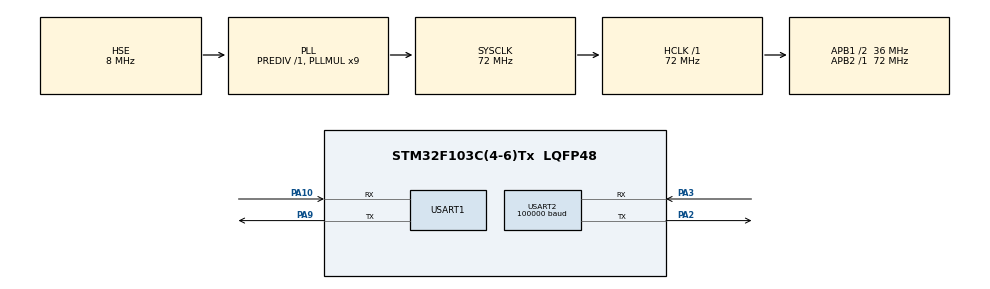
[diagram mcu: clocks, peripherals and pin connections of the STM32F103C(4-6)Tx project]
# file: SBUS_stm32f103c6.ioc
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Dma.Request0=USART2_RX
Dma.USART2_RX.0.Direction=DMA_PERIPH_TO_MEMORY
Dma.USART2_RX.0.Instance=DMA1_Channel6
Dma.USART2_RX.0.MemDataAlignment=DMA_MDATAALIGN_BYTE
Dma.USART2_RX.0.MemInc=DMA_MINC_ENABLE
Dma.USART2_RX.0.Mode=DMA_CIRCULAR
Dma.USART2_RX.0.PeriphDataAlignment=DMA_PDATAALIGN_BYTE
Dma.USART2_RX.0.PeriphInc=DMA_PINC_DISABLE
Dma.USART2_RX.0.Priority=DMA_PRIORITY_LOW
Mcu.Family=STM32F1
Mcu.Name=STM32F103C(4-6)Tx
Mcu.Package=LQFP48
NVIC.DMA1_Channel6_IRQn=true\:0\:0\:false\:false\:true\:false\:true
NVIC.PriorityGroup=NVIC_PRIORITYGROUP_4
NVIC.USART1_IRQn=true\:0\:0\:false\:false\:true\:true\:true
PA10.Mode=Asynchronous
PA10.Signal=USART1_RX
PA13.Mode=Serial_Wire
PA13.Signal=SYS_JTMS-SWDIO
PA14.Mode=Serial_Wire
PA14.Signal=SYS_JTCK-SWCLK
PA2.Mode=Asynchronous
PA2.Signal=USART2_TX
PA3.Mode=Asynchronous
PA3.Signal=USART2_RX
PA9.Mode=Asynchronous
PA9.Signal=USART1_TX
PD0-OSC_IN.Mode=HSE-External-Oscillator
PD0-OSC_IN.Signal=RCC_OSC_IN
PD1-OSC_OUT.Mode=HSE-External-Oscillator
PD1-OSC_OUT.Signal=RCC_OSC_OUT
ProjectManager.HeapSize=0x200
ProjectManager.StackSize=0x400
ProjectManager.TargetToolchain=STM32CubeIDE
RCC.AHBFreq_Value=72000000
RCC.APB1CLKDivider=RCC_HCLK_DIV2
RCC.APB1Freq_Value=36000000
RCC.APB1TimFreq_Value=72000000
RCC.APB2Freq_Value=72000000
RCC.APB2TimFreq_Value=72000000
RCC.HCLKFreq_Value=72000000
RCC.PLLMUL=RCC_PLL_MUL9
RCC.PLLSourceVirtual=RCC_PLLSOURCE_HSE
RCC.SYSCLKFreq_VALUE=72000000
RCC.SYSCLKSource=RCC_SYSCLKSOURCE_PLLCLK
RCC.USBFreq_Value=48000000
RCC.USBPrescaler=RCC_USBCLKSOURCE_PLL_DIV1_5
USART1.VirtualMode=VM_ASYNC
USART2.BaudRate=100000
USART2.Mode=MODE_RX
USART2.Parity=PARITY_EVEN
USART2.StopBits=STOPBITS_2
USART2.VirtualMode=VM_ASYNC
board=custom

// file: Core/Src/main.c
/* USER CODE BEGIN Header */
/**
  ******************************************************************************
  * @file           : main.c
  * @brief          : Main program body
  ******************************************************************************
  * @attention
  *
  * Copyright (c) 2022 STMicroelectronics.
  * All rights reserved.
  *
  * This software is licensed under terms that can be found in the LICENSE file
  * in the root directory of this software component.
  * If no LICENSE file comes with this software, it is provided AS-IS.
  *
  ******************************************************************************
  */
/* USER CODE END Header */
#include "main.h"

/* USER CODE BEGIN Includes */
#include <string.h>
#include <stdio.h>
#include "SBUS.h"
/* USER CODE END Includes */

UART_HandleTypeDef huart1;
UART_HandleTypeDef huart2;
DMA_HandleTypeDef hdma_usart2_rx;

/* USER CODE BEGIN PV */
char outbuf[30] = {0, };
uint32_t time = 0;

uint16_t failsafe_status;
uint8_t buf[25];
uint16_t CH[18];
/* USER CODE END PV */

void SystemClock_Config(void);
static void MX_GPIO_Init(void);
static void MX_DMA_Init(void);
static void MX_USART2_UART_Init(void);
static void MX_USART1_UART_Init(void);

/* USER CODE BEGIN 0 */

void HAL_UART_RxCpltCallback(UART_HandleTypeDef *huart)
{

	if(huart == &huart2){
	failsafe_status = CalculateSBUS(buf, CH);
	}

}

/* USER CODE END 0 */

int main(void)
{

  /* MCU Configuration--------------------------------------------------------*/

  /* Reset of all peripherals, Initializes the Flash interface and the Systick. */
  HAL_Init();

  /* Configure the system clock */
  SystemClock_Config();

  /* Initialize all configured peripherals */
  MX_GPIO_Init();
  MX_DMA_Init();
  MX_USART2_UART_Init();
  MX_USART1_UART_Init();
  /* USER CODE BEGIN 2 */
  HAL_UART_Receive_DMA(&huart2, buf, 25);
  /* USER CODE END 2 */

  /* Infinite loop */
  /* USER CODE BEGIN WHILE */
  while (1)
  {
	  if(HAL_GetTick() - time > 200){
		  time = HAL_GetTick();
		  snprintf(outbuf, 29, "%d  %d\n", (uint16_t)CH[0], (uint16_t)CH[1]);
		  HAL_UART_Transmit_IT(&huart1, (uint8_t*)outbuf, sizeof(outbuf));
		  //HAL_UART_Transmit(&huart1, (uint8_t*)"Hello Wrld\n", 12, 1000);
	  }

    /* USER CODE END WHILE */

  }
}

void SystemClock_Config(void)
{
  RCC_OscInitTypeDef RCC_OscInitStruct = {0};
  RCC_ClkInitTypeDef RCC_ClkInitStruct = {0};

  /** Initializes the RCC Oscillators according to the specified parameters
  * in the RCC_OscInitTypeDef structure.
  */
  RCC_OscInitStruct.OscillatorType = RCC_OSCILLATORTYPE_HSE;
  RCC_OscInitStruct.HSEState = RCC_HSE_ON;
  RCC_OscInitStruct.HSEPredivValue = RCC_HSE_PREDIV_DIV1;
  RCC_OscInitStruct.HSIState = RCC_HSI_ON;
  RCC_OscInitStruct.PLL.PLLState = RCC_PLL_ON;
  RCC_OscInitStruct.PLL.PLLSource = RCC_PLLSOURCE_HSE;
  RCC_OscInitStruct.PLL.PLLMUL = RCC_PLL_MUL9;
  if (HAL_RCC_OscConfig(&RCC_OscInitStruct) != HAL_OK)
  {
    Error_Handler();
  }
  /** Initializes the CPU, AHB and APB buses clocks
  */
  RCC_ClkInitStruct.ClockType = RCC_CLOCKTYPE_HCLK|RCC_CLOCKTYPE_SYSCLK
                              |RCC_CLOCKTYPE_PCLK1|RCC_CLOCKTYPE_PCLK2;
  RCC_ClkInitStruct.SYSCLKSource = RCC_SYSCLKSOURCE_PLLCLK;
  RCC_ClkInitStruct.AHBCLKDivider = RCC_SYSCLK_DIV1;
  RCC_ClkInitStruct.APB1CLKDivider = RCC_HCLK_DIV2;
  RCC_ClkInitStruct.APB2CLKDivider = RCC_HCLK_DIV1;

  if (HAL_RCC_ClockConfig(&RCC_ClkInitStruct, FLASH_LATENCY_2) != HAL_OK)
  {
    Error_Handler();
  }
}

static void MX_USART1_UART_Init(void)
{

  huart1.Instance = USART1;
  huart1.Init.BaudRate = 115200;
  huart1.Init.WordLength = UART_WORDLENGTH_8B;
  huart1.Init.StopBits = UART_STOPBITS_1;
  huart1.Init.Parity = UART_PARITY_NONE;
  huart1.Init.Mode = UART_MODE_TX_RX;
  huart1.Init.HwFlowCtl = UART_HWCONTROL_NONE;
  huart1.Init.OverSampling = UART_OVERSAMPLING_16;
  if (HAL_UART_Init(&huart1) != HAL_OK)
  {
    Error_Handler();
  }

}

static void MX_USART2_UART_Init(void)
{

  huart2.Instance = USART2;
  huart2.Init.BaudRate = 100000;
  huart2.Init.WordLength = UART_WORDLENGTH_8B;
  huart2.Init.StopBits = UART_STOPBITS_2;
  huart2.Init.Parity = UART_PARITY_EVEN;
  huart2.Init.Mode = UART_MODE_RX;
  huart2.Init.HwFlowCtl = UART_HWCONTROL_NONE;
  huart2.Init.OverSampling = UART_OVERSAMPLING_16;
  if (HAL_UART_Init(&huart2) != HAL_OK)
  {
    Error_Handler();
  }

}

static void MX_DMA_Init(void)
{

  /* DMA controller clock enable */
  __HAL_RCC_DMA1_CLK_ENABLE();

  /* DMA interrupt init */
  /* DMA1_Channel6_IRQn interrupt configuration */
  HAL_NVIC_SetPriority(DMA1_Channel6_IRQn, 0, 0);
  HAL_NVIC_EnableIRQ(DMA1_Channel6_IRQn);

}

static void MX_GPIO_Init(void)
{

  /* GPIO Ports Clock Enable */
  __HAL_RCC_GPIOD_CLK_ENABLE();
  __HAL_RCC_GPIOA_CLK_ENABLE();

}

void Error_Handler(void)
{
  __disable_irq();
  while (1)
  {
  }
}
